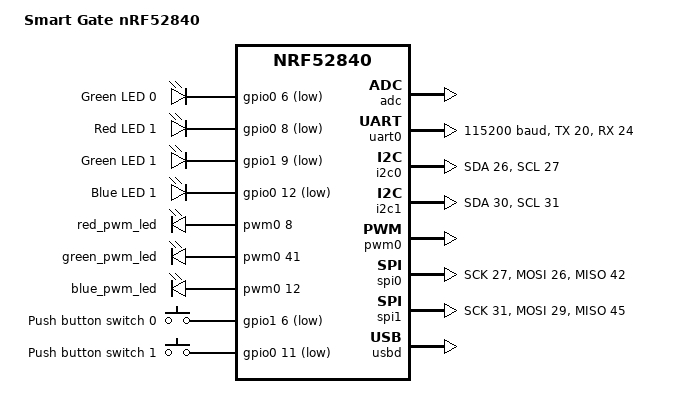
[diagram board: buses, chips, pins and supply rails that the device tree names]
/*
 * nRF52840 SMART GATE board configuration
 * SPDX-License-Identifier: Apache-2.0
 */

 /dts-v1/;
 #include <nordic/nrf52840_qiaa.dtsi>
 
 / {
     model = "Smart Gate nRF52840";
     compatible = "nordic,nrf52840-dk-nrf52840";
 
     chosen {
         zephyr,console = &uart0;
         zephyr,shell-uart = &uart0;
         zephyr,uart-mcumgr = &uart0;
         zephyr,bt-mon-uart = &uart0;
         zephyr,bt-c2h-uart = &uart0;
         zephyr,sram = &sram0;
         zephyr,flash = &flash0;
         zephyr,code-partition = &slot0_partition;
     };
 
     leds {
		compatible = "gpio-leds";
		led0_green: led_0 {
			gpios = <&gpio0 6 GPIO_ACTIVE_LOW>;
			label = "Green LED 0";
		};
		led1_red: led_1 {
			gpios = <&gpio0 8 GPIO_ACTIVE_LOW>;
			label = "Red LED 1";
		};
		led1_green: led_2 {
			gpios = <&gpio1 9 GPIO_ACTIVE_LOW>;
			label = "Green LED 1";
		};
		led1_blue: led_3 {
			gpios = <&gpio0 12 GPIO_ACTIVE_LOW>;
			label = "Blue LED 1";
		};
	};

	pwmleds {
		compatible = "pwm-leds";
		red_pwm_led: pwm_led_0 {
			pwms = <&pwm0 8>;
		};
		green_pwm_led: pwm_led_1 {
			pwms = <&pwm0 41>;
		};
		blue_pwm_led: pwm_led_2 {
			pwms = <&pwm0 12>;
		};
	};

	buttons {
		compatible = "gpio-keys";
		button0: button_0 {
			gpios = <&gpio1 6 (GPIO_PULL_UP | GPIO_ACTIVE_LOW)>;
			label = "Push button switch 0";
		};
        button1: button_1 {
			gpios = <&gpio0 11 (GPIO_PULL_UP | GPIO_ACTIVE_LOW)>;
			label = "Push button switch 1";
		};
	};

	/* These aliases are provided for compatibility with samples */
	aliases {
		sw0 = &button0;
		led0 = &led0_green;
		led1 = &led1_red;
		led2 = &led1_green;
		led3 = &led1_blue;
		led0-green = &led0_green;
		led1-red   = &led1_red;
		led1-green = &led1_green;
		led1-blue  = &led1_blue;
		pwm-led0 = &red_pwm_led;
		pwm-led1 = &green_pwm_led;
		pwm-led2 = &blue_pwm_led;
		red-pwm-led = &red_pwm_led;
		green-pwm-led = &green_pwm_led;
		blue-pwm-led = &blue_pwm_led;
	};
};

&adc {
	status = "okay";
};

&gpiote {
	status = "okay";
};

&gpio0 {
	status = "okay";
};

&gpio1 {
	status = "okay";
};

&uart0 {
	compatible = "nordic,nrf-uart";
	status = "okay";
	current-speed = <115200>;
	tx-pin = <20>;
	rx-pin = <24>;
	rts-pin = <17>;
	cts-pin = <22>;
};

&i2c0 {
	compatible = "nordic,nrf-twi";
	status = "okay";
	sda-pin = <26>;
	scl-pin = <27>;
};

&i2c1 {
	compatible = "nordic,nrf-twi";
	/* Cannot be used together with spi1. */
	/* status = "okay"; */
	sda-pin = <30>;
	scl-pin = <31>;
};

&pwm0 {
	status = "okay";
	ch0-pin = <8>;
	ch0-inverted;
	ch1-pin = <41>;
	ch1-inverted;
	ch2-pin = <12>;
	ch2-inverted;
};

/*
 * By default, not adding all available SPI instances (spi2, spi3) due to
 * limited GPIOs available on dongle board.
 */
&spi0 {
	compatible = "nordic,nrf-spi";
	/* Cannot be used together with i2c0. */
	/* status = "okay"; */
	sck-pin = <27>;
	mosi-pin = <26>;
	miso-pin = <42>;
};

&spi1 {
	compatible = "nordic,nrf-spi";
	status = "okay";
	sck-pin = <31>;
	mosi-pin = <29>;
	miso-pin = <45>;
};
 
&flash0 {
     /*
      * For more information, see:
      * https://docs.zephyrproject.org/latest/guides/dts/legacy-macros.html#legacy-flash-partitions
      */
    partitions {
        compatible = "fixed-partitions";
        #address-cells = <1>;
        #size-cells = <1>;
 
        boot_partition: partition@0 {
            label = "mcuboot";
            reg = <0x000000000 0x0000C000>;
        };
        slot0_partition: partition@c000 {
            label = "image-0";
            reg = <0x0000C000 0x00067000>;
        };
        slot1_partition: partition@73000 {
            label = "image-1";
            reg = <0x00073000 0x00067000>;
         };
        scratch_partition: partition@da000 {
            label = "image-scratch";
            reg = <0x000da000 0x0001e000>;
        };
 
         /*
          * The flash starting at 0x000f8000 and ending at
          * 0x000fffff is reserved for use by the application.
          */
 
         /*
          * Storage partition will be used by FCB/LittleFS/NVS
          * if enabled.
          */
        storage_partition: partition@f8000 {
            label = "storage";
            reg = <0x000f8000 0x00008000>;
        };
    };
};
 
 &usbd {
     compatible = "nordic,nrf-usbd";
     status = "okay";
 };
 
